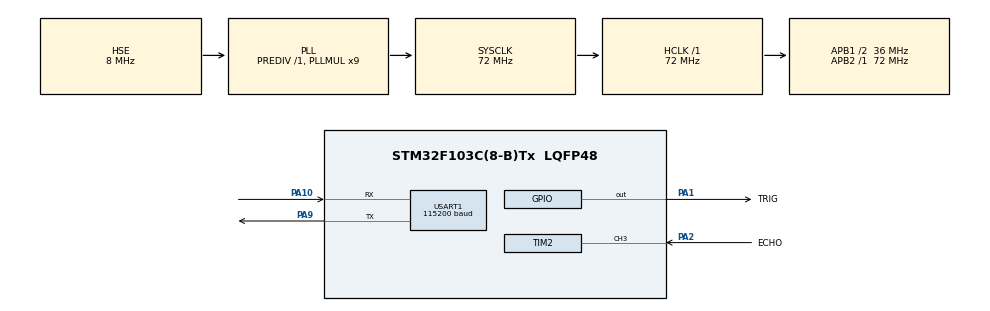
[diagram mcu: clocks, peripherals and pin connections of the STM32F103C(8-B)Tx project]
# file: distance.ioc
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Mcu.Family=STM32F1
Mcu.Name=STM32F103C(8-B)Tx
Mcu.Package=LQFP48
NVIC.PriorityGroup=NVIC_PRIORITYGROUP_4
NVIC.TIM2_IRQn=true\:0\:0\:false\:false\:true\:true\:true\:true
PA1.GPIO_Label=TRIG
PA1.Signal=GPIO_Output
PA10.Mode=Asynchronous
PA10.Signal=USART1_RX
PA13.Mode=Serial_Wire
PA13.Signal=SYS_JTMS-SWDIO
PA14.Mode=Serial_Wire
PA14.Signal=SYS_JTCK-SWCLK
PA2.GPIO_Label=ECHO
PA2.Signal=S_TIM2_CH3
PA9.Mode=Asynchronous
PA9.Signal=USART1_TX
PD0-OSC_IN.Mode=HSE-External-Oscillator
PD0-OSC_IN.Signal=RCC_OSC_IN
PD1-OSC_OUT.Mode=HSE-External-Oscillator
PD1-OSC_OUT.Signal=RCC_OSC_OUT
ProjectManager.HeapSize=0x200
ProjectManager.StackSize=0x400
ProjectManager.TargetToolchain=MDK-ARM V5
RCC.AHBFreq_Value=72000000
RCC.APB1CLKDivider=RCC_HCLK_DIV2
RCC.APB1Freq_Value=36000000
RCC.APB1TimFreq_Value=72000000
RCC.APB2Freq_Value=72000000
RCC.APB2TimFreq_Value=72000000
RCC.HCLKFreq_Value=72000000
RCC.PLLMUL=RCC_PLL_MUL9
RCC.PLLSourceVirtual=RCC_PLLSOURCE_HSE
RCC.SYSCLKFreq_VALUE=72000000
RCC.SYSCLKSource=RCC_SYSCLKSOURCE_PLLCLK
RCC.USBFreq_Value=72000000
SH.S_TIM2_CH3.0=TIM2_CH3,Input_Capture3_from_TI3
TIM2.AutoReloadPreload=TIM_AUTORELOAD_PRELOAD_ENABLE
TIM2.Channel-Input_Capture3_from_TI3=TIM_CHANNEL_3
TIM2.Period=65535
TIM2.Prescaler=71
USART1.BaudRate=115200
USART1.VirtualMode=VM_ASYNC
VP_TIM2_VS_ClockSourceINT.Mode=Internal
board=custom

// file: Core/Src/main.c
/* USER CODE BEGIN Header */
/**
  ******************************************************************************
  * @file           : main.c
  * @brief          : Main program body
  ******************************************************************************
  * @attention
  *
  * Copyright (c) 2022 STMicroelectronics.
  * All rights reserved.
  *
  * This software is licensed under terms that can be found in the LICENSE file
  * in the root directory of this software component.
  * If no LICENSE file comes with this software, it is provided AS-IS.
  *
  ******************************************************************************
  */
/* USER CODE END Header */
#include "main.h"
#include "tim.h"
#include "usart.h"
#include "gpio.h"

/* USER CODE BEGIN Includes */
#include "stdio.h"
/* USER CODE END Includes */

/* USER CODE BEGIN PM */
uint8_t IS_FIRST_CAPTURED = 0;
uint32_t IC_Val1=0;
uint32_t IC_Val2=0;
uint32_t Difference=0;
uint16_t Distance=0;
/* USER CODE END PM */

void SystemClock_Config(void);
/* USER CODE BEGIN PFP */
uint16_t HCSR04_Read(void );
/* USER CODE END PFP */

int main(void)
{

  /* MCU Configuration--------------------------------------------------------*/

  /* Reset of all peripherals, Initializes the Flash interface and the Systick. */
  HAL_Init();

  /* Configure the system clock */
  SystemClock_Config();

  /* Initialize all configured peripherals */
  MX_GPIO_Init();
  MX_TIM2_Init();
  MX_USART1_UART_Init();
  /* USER CODE BEGIN 2 */
	HAL_TIM_Base_Start_IT(&htim2);
	HAL_TIM_IC_Start_IT(&htim2,TIM_CHANNEL_3);
  /* USER CODE END 2 */

  /* Infinite loop */
  while (1)
  {

    /* USER CODE BEGIN 3 */
		printf ("distance = %d cm \r\n",HCSR04_Read());
		HAL_Delay (500);
  }
  /* USER CODE END 3 */
}

void SystemClock_Config(void)
{
  RCC_OscInitTypeDef RCC_OscInitStruct = {0};
  RCC_ClkInitTypeDef RCC_ClkInitStruct = {0};

  /** Initializes the RCC Oscillators according to the specified parameters
  * in the RCC_OscInitTypeDef structure.
  */
  RCC_OscInitStruct.OscillatorType = RCC_OSCILLATORTYPE_HSE;
  RCC_OscInitStruct.HSEState = RCC_HSE_ON;
  RCC_OscInitStruct.HSEPredivValue = RCC_HSE_PREDIV_DIV1;
  RCC_OscInitStruct.HSIState = RCC_HSI_ON;
  RCC_OscInitStruct.PLL.PLLState = RCC_PLL_ON;
  RCC_OscInitStruct.PLL.PLLSource = RCC_PLLSOURCE_HSE;
  RCC_OscInitStruct.PLL.PLLMUL = RCC_PLL_MUL9;
  if (HAL_RCC_OscConfig(&RCC_OscInitStruct) != HAL_OK)
  {
    Error_Handler();
  }

  /** Initializes the CPU, AHB and APB buses clocks
  */
  RCC_ClkInitStruct.ClockType = RCC_CLOCKTYPE_HCLK|RCC_CLOCKTYPE_SYSCLK
                              |RCC_CLOCKTYPE_PCLK1|RCC_CLOCKTYPE_PCLK2;
  RCC_ClkInitStruct.SYSCLKSource = RCC_SYSCLKSOURCE_PLLCLK;
  RCC_ClkInitStruct.AHBCLKDivider = RCC_SYSCLK_DIV1;
  RCC_ClkInitStruct.APB1CLKDivider = RCC_HCLK_DIV2;
  RCC_ClkInitStruct.APB2CLKDivider = RCC_HCLK_DIV1;

  if (HAL_RCC_ClockConfig(&RCC_ClkInitStruct, FLASH_LATENCY_2) != HAL_OK)
  {
    Error_Handler();
  }
}

/* USER CODE BEGIN 4 */

void delay_us(uint16_t us)
{
	__HAL_TIM_SET_COUNTER (&htim2 ,0);
	while(__HAL_TIM_GET_COUNTER (&htim2 )<us );
}

uint16_t HCSR04_Read(void )
{
	HAL_GPIO_WritePin (TRIG_GPIO_Port ,TRIG_Pin ,GPIO_PIN_RESET );
	delay_us (2);
	HAL_GPIO_WritePin (TRIG_GPIO_Port ,TRIG_Pin ,GPIO_PIN_SET );
	delay_us (12);
	HAL_GPIO_WritePin (TRIG_GPIO_Port ,TRIG_Pin ,GPIO_PIN_RESET );
	__HAL_TIM_ENABLE_IT (&htim2 ,TIM_IT_CC3 );
//	HAL_TIM_IC_Start_IT(&htim2,TIM_CHANNEL_3);
	HAL_Delay (100);
	return Distance ;
}

void HAL_TIM_IC_CaptureCallback(TIM_HandleTypeDef *htim)
{
	if(htim ->Channel ==HAL_TIM_ACTIVE_CHANNEL_3 )
	{
		if(IS_FIRST_CAPTURED ==0)
		{
			IS_FIRST_CAPTURED =1;
			IC_Val1 =	HAL_TIM_ReadCapturedValue (htim ,TIM_CHANNEL_3 );//读取当前值
			__HAL_TIM_SET_CAPTUREPOLARITY (htim ,TIM_CHANNEL_3 ,TIM_INPUTCHANNELPOLARITY_FALLING );//下降沿
		}
		else if (IS_FIRST_CAPTURED ==1)
		{
			IS_FIRST_CAPTURED =0;
			IC_Val2 =	HAL_TIM_ReadCapturedValue (htim ,TIM_CHANNEL_3 );
			__HAL_TIM_SET_COUNTER (htim ,0);

			if(IC_Val1 <IC_Val2 )
			{
				Difference=IC_Val2 -IC_Val1 ;
			}
			else if(IC_Val1 >IC_Val2)
			{
				Difference=0xffff- IC_Val1 +IC_Val2 ;
			}
		Distance = Difference *0.017;
		__HAL_TIM_SET_CAPTUREPOLARITY (htim ,TIM_CHANNEL_3 ,TIM_INPUTCHANNELPOLARITY_RISING );//上升沿
		__HAL_TIM_DISABLE_IT (&htim2 ,TIM_IT_CC3 );
//			HAL_TIM_IC_Stop_IT(&htim2,TIM_CHANNEL_3);
		}

	}
}

/* USER CODE END 4 */

void Error_Handler(void)
{
  __disable_irq();
  while (1)
  {
  }
}
